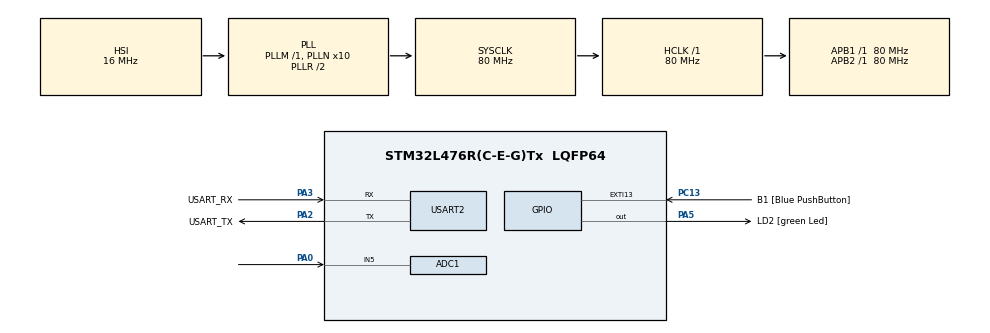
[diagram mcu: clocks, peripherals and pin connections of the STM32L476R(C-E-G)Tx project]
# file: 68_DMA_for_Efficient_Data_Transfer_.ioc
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ADC1.Channel-0\#ChannelRegularConversion=ADC_CHANNEL_5
ADC1.ContinuousConvMode=ENABLE
ADC1.DMAContinuousRequests=ENABLE
ADC1.NbrOfConversionFlag=1
ADC1.OffsetNumber-0\#ChannelRegularConversion=ADC_OFFSET_NONE
ADC1.Rank-0\#ChannelRegularConversion=1
ADC1.SamplingTime-0\#ChannelRegularConversion=ADC_SAMPLETIME_2CYCLES_5
ADC1.master=1
Dma.ADC1.0.Direction=DMA_PERIPH_TO_MEMORY
Dma.ADC1.0.Instance=DMA1_Channel1
Dma.ADC1.0.MemDataAlignment=DMA_MDATAALIGN_HALFWORD
Dma.ADC1.0.MemInc=DMA_MINC_ENABLE
Dma.ADC1.0.Mode=DMA_CIRCULAR
Dma.ADC1.0.PeriphDataAlignment=DMA_PDATAALIGN_HALFWORD
Dma.ADC1.0.PeriphInc=DMA_PINC_DISABLE
Dma.ADC1.0.Priority=DMA_PRIORITY_LOW
Dma.Request0=ADC1
Mcu.Family=STM32L4
Mcu.Name=STM32L476R(C-E-G)Tx
Mcu.Package=LQFP64
NVIC.DMA1_Channel1_IRQn=true\:0\:0\:false\:false\:true\:false\:true\:true
NVIC.PriorityGroup=NVIC_PRIORITYGROUP_4
PA0.Signal=ADCx_IN5
PA13\ (JTMS-SWDIO).GPIO_Label=TMS
PA13\ (JTMS-SWDIO).Mode=Serial_Wire
PA13\ (JTMS-SWDIO).Signal=SYS_JTMS-SWDIO
PA14\ (JTCK-SWCLK).GPIO_Label=TCK
PA14\ (JTCK-SWCLK).Mode=Serial_Wire
PA14\ (JTCK-SWCLK).Signal=SYS_JTCK-SWCLK
PA2.GPIO_Label=USART_TX
PA2.GPIO_Mode=GPIO_MODE_AF_PP
PA2.GPIO_PuPd=GPIO_NOPULL
PA2.GPIO_Speed=GPIO_SPEED_FREQ_VERY_HIGH
PA2.Mode=Asynchronous
PA2.Signal=USART2_TX
PA3.GPIO_Label=USART_RX
PA3.GPIO_Mode=GPIO_MODE_AF_PP
PA3.GPIO_PuPd=GPIO_NOPULL
PA3.GPIO_Speed=GPIO_SPEED_FREQ_VERY_HIGH
PA3.Mode=Asynchronous
PA3.Signal=USART2_RX
PA5.GPIO_Label=LD2 [green Led]
PA5.GPIO_ModeDefaultOutputPP=GPIO_MODE_OUTPUT_PP
PA5.GPIO_PuPd=GPIO_NOPULL
PA5.GPIO_Speed=GPIO_SPEED_FREQ_LOW
PA5.Signal=GPIO_Output
PB3\ (JTDO-TRACESWO).GPIO_Label=SWO
PB3\ (JTDO-TRACESWO).Signal=SYS_JTDO-SWO
PC13.GPIO_Label=B1 [Blue PushButton]
PC13.GPIO_ModeDefaultEXTI=GPIO_MODE_IT_FALLING
PC13.GPIO_PuPd=GPIO_NOPULL
PC13.Signal=GPXTI13
PC14-OSC32_IN\ (PC14).Mode=LSE-External-Oscillator
PC14-OSC32_IN\ (PC14).Signal=RCC_OSC32_IN
PC15-OSC32_OUT\ (PC15).Mode=LSE-External-Oscillator
PC15-OSC32_OUT\ (PC15).Signal=RCC_OSC32_OUT
PH0-OSC_IN\ (PH0).Signal=RCC_OSC_IN
PH1-OSC_OUT\ (PH1).Signal=RCC_OSC_OUT
ProjectManager.HeapSize=0x200
ProjectManager.StackSize=0x400
ProjectManager.TargetToolchain=STM32CubeIDE
RCC.ADCFreq_Value=64000000
RCC.AHBFreq_Value=80000000
RCC.APB1Freq_Value=80000000
RCC.APB1TimFreq_Value=80000000
RCC.APB2Freq_Value=80000000
RCC.APB2TimFreq_Value=80000000
RCC.CortexFreq_Value=80000000
RCC.HCLKFreq_Value=80000000
RCC.HSE_VALUE=8000000
RCC.HSI_VALUE=16000000
RCC.MSI_VALUE=4000000
RCC.PLLN=10
RCC.PLLSourceVirtual=RCC_PLLSOURCE_HSI
RCC.PREFETCH_ENABLE=1
RCC.SYSCLKFreq_VALUE=80000000
RCC.SYSCLKSource=RCC_SYSCLKSOURCE_PLLCLK
RCC.USBFreq_Value=64000000
RCC.VCOOutputFreq_Value=160000000
SH.ADCx_IN5.0=ADC1_IN5,IN5-Single-Ended
USART2.VirtualMode-Asynchronous=VM_ASYNC
board=NUCLEO-L476RG

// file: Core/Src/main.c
/* USER CODE BEGIN Header */
/**
  ******************************************************************************
  * @file           : main.c
  * @brief          : Main program body
  ******************************************************************************
  * @attention
  *
  * Copyright (c) 2026 STMicroelectronics.
  * All rights reserved.
  *
  * This software is licensed under terms that can be found in the LICENSE file
  * in the root directory of this software component.
  * If no LICENSE file comes with this software, it is provided AS-IS.
  *
  ******************************************************************************
  */
/* USER CODE END Header */
#include "main.h"
#include <stdio.h>
#include <string.h>

/* USER CODE BEGIN PM */
volatile uint32_t dma_count = 0;

/* USER CODE END PM */

ADC_HandleTypeDef hadc1;
DMA_HandleTypeDef hdma_adc1;

UART_HandleTypeDef huart2;

void SystemClock_Config(void);
static void MX_GPIO_Init(void);
static void MX_DMA_Init(void);
static void MX_USART2_UART_Init(void);
static void MX_ADC1_Init(void);

/**
  * @brief  The application entry point.
  * @retval int
  */ uint32_t adc_value;
  uint32_t count = 0;
  uint32_t start;
  char msg[100];
  //for dma test
#define ADC_BUF_SIZE 1000

uint16_t adc_buffer[ADC_BUF_SIZE];

int main(void)
{

  /* MCU Configuration--------------------------------------------------------*/

  /* Reset of all peripherals, Initializes the Flash interface and the Systick. */
  HAL_Init();

  /* USER CODE BEGIN Init */
//  MX_ADC1_Init();
  /* USER CODE END Init */

  /* Configure the system clock */
  SystemClock_Config();

  /* Initialize all configured peripherals */
  MX_GPIO_Init();
//  MX_DMA_Init();
  MX_USART2_UART_Init();
  MX_ADC1_Init();
  /* USER CODE BEGIN 2 */
//  HAL_ADC_Start_DMA(&hadc1,
//                    (uint32_t *)adc_buffer,
//                    ADC_BUF_SIZE);
  /* USER CODE END 2 */

  /* Infinite loop */
  /* USER CODE BEGIN WHILE */

  start = HAL_GetTick();

  // this below code for polling test
  while(HAL_GetTick() - start < 2000)
  {
      HAL_ADC_Start(&hadc1);

      HAL_ADC_PollForConversion(&hadc1, HAL_MAX_DELAY);

      adc_value = HAL_ADC_GetValue(&hadc1);

      count++;

      HAL_ADC_Stop(&hadc1);
  }
  sprintf(msg,
          "Polling Samples in 2 sec = %lu\r\n",
          count);

  HAL_UART_Transmit(&huart2,
                    (uint8_t *)msg,
                    strlen(msg),
                    HAL_MAX_DELAY);

  // this is for dma

//  start = HAL_GetTick();
//  HAL_StatusTypeDef status;
//
//  while(HAL_GetTick() - start < 2000)
//  {
//      // CPU does nothing
//  }
//  HAL_ADC_Stop_DMA(&hadc1);
//  uint32_t samples = dma_count * ADC_BUF_SIZE;
//  sprintf(msg,
//          "DMA Samples in 2 sec = %lu\r\n",
//          samples);
//
//  HAL_UART_Transmit(&huart2,
//                    (uint8_t*)msg,
//                    strlen(msg),
//                    HAL_MAX_DELAY);
  while(1)
  {
  }

//  this is testing
//  uint32_t prev = HAL_GetTick();
//
//  while(1)
//  {
//      uint32_t now = HAL_GetTick();
//
//      if(now != prev)
//      {
//          prev = now;
//          HAL_GPIO_TogglePin(GPIOA, GPIO_PIN_5);
//      }
//  }
//  while (1)
//  {
    /* USER CODE END WHILE */
//	  HAL_ADC_Start(&hadc1);
//
//	  HAL_ADC_PollForConversion(&hadc1, HAL_MAX_DELAY);
//
//	  adc_value = HAL_ADC_GetValue(&hadc1);
//
//	  sprintf(msg,"ADC = %lu\r\n",adc_value);
//
//	  HAL_UART_Transmit(&huart2,
//	                    (uint8_t*)msg,
//	                    strlen(msg),
//	                    HAL_MAX_DELAY);
//
//	  HAL_Delay(500);

    /* USER CODE BEGIN 3 */
//  }
  /* USER CODE END 3 */
}
void HAL_ADC_ConvCpltCallback(ADC_HandleTypeDef *hadc)
{
    if(hadc->Instance == ADC1)
    {
        dma_count++;
    }
}
void SystemClock_Config(void)
{
  RCC_OscInitTypeDef RCC_OscInitStruct = {0};
  RCC_ClkInitTypeDef RCC_ClkInitStruct = {0};

  /** Configure the main internal regulator output voltage
  */
  if (HAL_PWREx_ControlVoltageScaling(PWR_REGULATOR_VOLTAGE_SCALE1) != HAL_OK)
  {
    Error_Handler();
  }

  /** Initializes the RCC Oscillators according to the specified parameters
  * in the RCC_OscInitTypeDef structure.
  */
  RCC_OscInitStruct.OscillatorType = RCC_OSCILLATORTYPE_HSI;
  RCC_OscInitStruct.HSIState = RCC_HSI_ON;
  RCC_OscInitStruct.HSICalibrationValue = RCC_HSICALIBRATION_DEFAULT;
  RCC_OscInitStruct.PLL.PLLState = RCC_PLL_ON;
  RCC_OscInitStruct.PLL.PLLSource = RCC_PLLSOURCE_HSI;
  RCC_OscInitStruct.PLL.PLLM = 1;
  RCC_OscInitStruct.PLL.PLLN = 10;
  RCC_OscInitStruct.PLL.PLLP = RCC_PLLP_DIV7;
  RCC_OscInitStruct.PLL.PLLQ = RCC_PLLQ_DIV2;
  RCC_OscInitStruct.PLL.PLLR = RCC_PLLR_DIV2;
  if (HAL_RCC_OscConfig(&RCC_OscInitStruct) != HAL_OK)
  {
    Error_Handler();
  }

  /** Initializes the CPU, AHB and APB buses clocks
  */
  RCC_ClkInitStruct.ClockType = RCC_CLOCKTYPE_HCLK|RCC_CLOCKTYPE_SYSCLK
                              |RCC_CLOCKTYPE_PCLK1|RCC_CLOCKTYPE_PCLK2;
  RCC_ClkInitStruct.SYSCLKSource = RCC_SYSCLKSOURCE_PLLCLK;
  RCC_ClkInitStruct.AHBCLKDivider = RCC_SYSCLK_DIV1;
  RCC_ClkInitStruct.APB1CLKDivider = RCC_HCLK_DIV1;
  RCC_ClkInitStruct.APB2CLKDivider = RCC_HCLK_DIV1;

  if (HAL_RCC_ClockConfig(&RCC_ClkInitStruct, FLASH_LATENCY_4) != HAL_OK)
  {
    Error_Handler();
  }
}

static void MX_ADC1_Init(void)
{

  ADC_MultiModeTypeDef multimode = {0};
  ADC_ChannelConfTypeDef sConfig = {0};

  /** Common config
  */
  hadc1.Instance = ADC1;
  hadc1.Init.ClockPrescaler = ADC_CLOCK_ASYNC_DIV1;
  hadc1.Init.Resolution = ADC_RESOLUTION_12B;
  hadc1.Init.DataAlign = ADC_DATAALIGN_RIGHT;
  hadc1.Init.ScanConvMode = ADC_SCAN_DISABLE;
  hadc1.Init.EOCSelection = ADC_EOC_SINGLE_CONV;
  hadc1.Init.LowPowerAutoWait = DISABLE;
  hadc1.Init.ContinuousConvMode = ENABLE;
  hadc1.Init.NbrOfConversion = 1;
  hadc1.Init.DiscontinuousConvMode = DISABLE;
  hadc1.Init.ExternalTrigConv = ADC_SOFTWARE_START;
  hadc1.Init.ExternalTrigConvEdge = ADC_EXTERNALTRIGCONVEDGE_NONE;
  hadc1.Init.DMAContinuousRequests = ENABLE;
  hadc1.Init.Overrun = ADC_OVR_DATA_PRESERVED;
  hadc1.Init.OversamplingMode = DISABLE;
  if (HAL_ADC_Init(&hadc1) != HAL_OK)
  {
    Error_Handler();
  }

  /** Configure the ADC multi-mode
  */
  multimode.Mode = ADC_MODE_INDEPENDENT;
  if (HAL_ADCEx_MultiModeConfigChannel(&hadc1, &multimode) != HAL_OK)
  {
    Error_Handler();
  }

  /** Configure Regular Channel
  */
  sConfig.Channel = ADC_CHANNEL_5;
  sConfig.Rank = ADC_REGULAR_RANK_1;
  sConfig.SamplingTime = ADC_SAMPLETIME_2CYCLES_5;
  sConfig.SingleDiff = ADC_SINGLE_ENDED;
  sConfig.OffsetNumber = ADC_OFFSET_NONE;
  sConfig.Offset = 0;
  if (HAL_ADC_ConfigChannel(&hadc1, &sConfig) != HAL_OK)
  {
    Error_Handler();
  }

}

static void MX_USART2_UART_Init(void)
{

  huart2.Instance = USART2;
  huart2.Init.BaudRate = 115200;
  huart2.Init.WordLength = UART_WORDLENGTH_8B;
  huart2.Init.StopBits = UART_STOPBITS_1;
  huart2.Init.Parity = UART_PARITY_NONE;
  huart2.Init.Mode = UART_MODE_TX_RX;
  huart2.Init.HwFlowCtl = UART_HWCONTROL_NONE;
  huart2.Init.OverSampling = UART_OVERSAMPLING_16;
  huart2.Init.OneBitSampling = UART_ONE_BIT_SAMPLE_DISABLE;
  huart2.AdvancedInit.AdvFeatureInit = UART_ADVFEATURE_NO_INIT;
  if (HAL_UART_Init(&huart2) != HAL_OK)
  {
    Error_Handler();
  }

}

static void MX_DMA_Init(void)
{

  /* DMA controller clock enable */
  __HAL_RCC_DMA1_CLK_ENABLE();

  /* DMA interrupt init */
  /* DMA1_Channel1_IRQn interrupt configuration */
  HAL_NVIC_SetPriority(DMA1_Channel1_IRQn, 0, 0);
  HAL_NVIC_EnableIRQ(DMA1_Channel1_IRQn);

}

static void MX_GPIO_Init(void)
{
  GPIO_InitTypeDef GPIO_InitStruct = {0};

  /* GPIO Ports Clock Enable */
  __HAL_RCC_GPIOC_CLK_ENABLE();
  __HAL_RCC_GPIOH_CLK_ENABLE();
  __HAL_RCC_GPIOA_CLK_ENABLE();
  __HAL_RCC_GPIOB_CLK_ENABLE();

  /*Configure GPIO pin Output Level */
  HAL_GPIO_WritePin(LD2_GPIO_Port, LD2_Pin, GPIO_PIN_RESET);

  /*Configure GPIO pin : B1_Pin */
  GPIO_InitStruct.Pin = B1_Pin;
  GPIO_InitStruct.Mode = GPIO_MODE_IT_FALLING;
  GPIO_InitStruct.Pull = GPIO_NOPULL;
  HAL_GPIO_Init(B1_GPIO_Port, &GPIO_InitStruct);

  /*Configure GPIO pin : LD2_Pin */
  GPIO_InitStruct.Pin = LD2_Pin;
  GPIO_InitStruct.Mode = GPIO_MODE_OUTPUT_PP;
  GPIO_InitStruct.Pull = GPIO_NOPULL;
  GPIO_InitStruct.Speed = GPIO_SPEED_FREQ_LOW;
  HAL_GPIO_Init(LD2_GPIO_Port, &GPIO_InitStruct);

}

void Error_Handler(void)
{
  __disable_irq();
  while (1)
  {
  }
}
